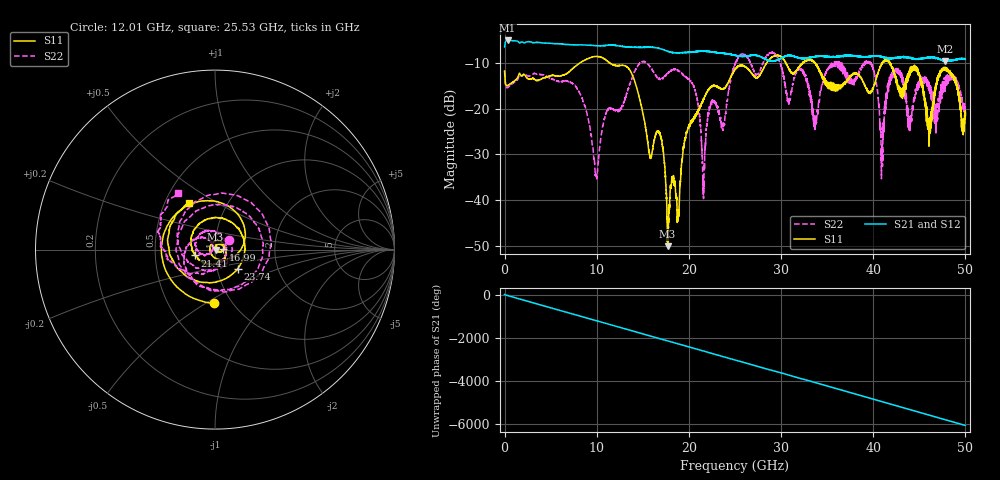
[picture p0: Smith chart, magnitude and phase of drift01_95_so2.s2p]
!Created with skrf (http://scikit-rf.org).
# Hz S RI R 50.0
!freq ReS11 ImS11 ReS21 ImS21 ReS12 ImS12 ReS22 ImS22
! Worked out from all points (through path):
!   10001 points, 300 kHz to 50 GHz, reference 50 ohm
!   highest |S21| = -5.05 dB at 325.3 MHz (marker M1); lowest = -9.6 dB at 47.84 GHz (marker M2)
!   group delay of S21, straight-line fit = 336 ps
!   lowest |S11| = -50.1 dB at 17.69 GHz (marker M3), VSWR 1.01, Z = 50.3 - j0.0877 ohm
!   |S11| at or under -10 dB: start of sweep to 8.154 GHz; 11.43 GHz to 28.43 GHz (17 GHz wide, 85.3 % of centre); 41.81 GHz to end of sweep (the widest 3 of 10)
!   |S22| runs from -39.7 to -7.6 dB; largest |S21 - S12| = 0.015
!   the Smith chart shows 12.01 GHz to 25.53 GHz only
!   S11 on the Smith chart (normalised r, x): 12.01 GHz: 0.83, -0.54; 16.99 GHz: 1.10, +0.00; 21.41 GHz: 0.80, -0.05; 23.74 GHz: 1.25, -0.27; 25.53 GHz: 0.66, +0.38
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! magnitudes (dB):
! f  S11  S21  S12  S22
! 300 kHz  -11.8  -6.5  -6.5  -11.8
! 325.3 MHz  -15.0  -5.1  -5.1  -15.4
! 8.335 GHz  -9.8  -6.0  -6.0  -17.5
! 9.935 GHz  -8.6  -6.2  -6.2  -34.5
! 12.01 GHz  -10.5  -6.1  -6.1  -20.4
! 16.67 GHz  -24.9  -6.8  -6.8  -13.3
! 16.99 GHz  -26.5  -6.9  -6.9  -13.5
! 17.69 GHz  -50.1  -7.4  -7.4  -12.3
! 20.49 GHz  -22.5  -7.6  -7.6  -14.9
! 21.41 GHz  -18.6  -7.4  -7.4  -28.8
! 22.48 GHz  -15.1  -7.6  -7.6  -18.9
! 23.74 GHz  -15.7  -7.9  -7.9  -23.6
! 25 GHz  -11.4  -8.3  -8.3  -10.3
! 25.53 GHz  -10.5  -8.5  -8.5  -8.5
! 33.34 GHz  -9.4  -8.7  -8.7  -19.7
! 39.48 GHz  -16.4  -8.6  -8.7  -10.0
! 40.95 GHz  -10.0  -8.6  -8.6  -28.3
! 41.67 GHz  -9.7  -8.9  -9.0  -15.1
! 44.72 GHz  -11.6  -9.1  -9.1  -15.2
! 46.11 GHz  -24.6  -8.8  -8.8  -15.9
! 47.84 GHz  -11.3  -9.6  -9.6  -14.3
! 50 GHz  -21.4  -9.2  -9.2  -20.2
